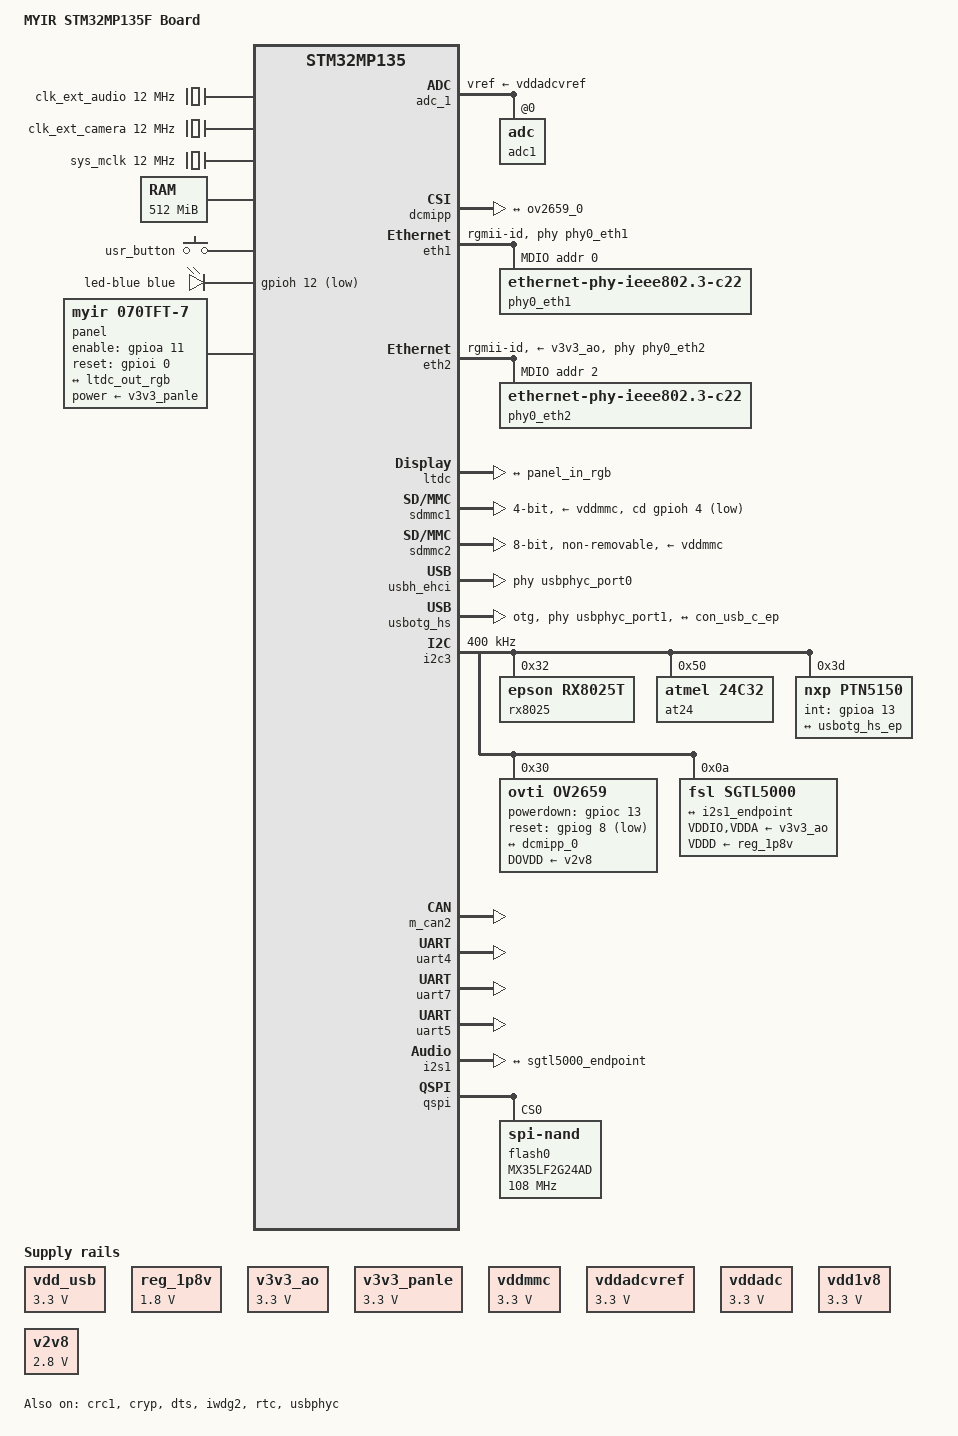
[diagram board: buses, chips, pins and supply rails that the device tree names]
// SPDX-License-Identifier: (GPL-2.0+ OR BSD-3-Clause)
/*
 * Copyright (C) STMicroelectronics 2021 - All Rights Reserved
 * Author: Alexandre Torgue <alexandre.torgue@foss.st.com> for STMicroelectronics.
 */

/dts-v1/;

#include <dt-bindings/gpio/gpio.h>
#include <dt-bindings/input/input.h>
#include <dt-bindings/leds/common.h>
#include <dt-bindings/rtc/rtc-stm32.h>
#include "stm32mp135.dtsi"
#include "stm32mp13xf.dtsi"
#include "myb-stm32mp13-pinctrl.dtsi"

/ {
	model = "MYIR STM32MP135F Board";
	compatible = "st,stm32mp135f-dk", "st,stm32mp135";

	aliases {
		ethernet0 = &eth1;
		ethernet1 = &eth2;
		serial0 = &uart4;
		serial1 = &uart7;
		serial2 = &uart5;
	};

	chosen {
		#address-cells = <1>;
		#size-cells = <1>;
		ranges;
		stdout-path = "serial0:115200n8";

		// framebuffer {
		// 	compatible = "simple-framebuffer";
		// 	clocks = <&rcc LTDC_PX>;
		// 	status = "disabled";
		// };
	};

	clocks {
		clk_ext_audio: clk-ext-audio {
			#clock-cells = <0>;
			compatible = "fixed-clock";
			clock-frequency = <12000000>;
		};

		clk_ext_camera: clk-ext-camera {
			#clock-cells = <0>;
			compatible = "fixed-clock";
			clock-frequency = <12000000>;
		};

		clk_mco1: clk-mco1 {
			#clock-cells = <0>;
			compatible = "fixed-clock";
			clock-frequency = <24000000>;
		};
	};

	sys_mclk: clock-mclk {
		compatible = "fixed-clock";
		#clock-cells = <0>;
		clock-frequency = <12000000>;
	};

	memory@c0000000 {
		device_type = "memory";
		reg = <0xc0000000 0x20000000>;
	};

	gpio-keys {
		compatible = "gpio-keys";
		#size-cells = <0>;
		button-0 {
			label = "usr_button";
			linux,code = <KEY_ENTER>;
			interrupt-parent = <&gpioi>;
			interrupts = <1 IRQ_TYPE_EDGE_RISING>;
		};
	};

	leds {
		compatible = "gpio-leds";
		led-blue {
			function = LED_FUNCTION_HEARTBEAT;
			color = <LED_COLOR_ID_BLUE>;
			gpios = <&gpioh 12 GPIO_ACTIVE_LOW>;
			linux,default-trigger = "heartbeat";
			default-state = "off";
		};
	};

	reserved-memory {
		#address-cells = <1>;
		#size-cells = <1>;
		ranges;

		optee_framebuffer@dd000000 {
			reg = <0xdd000000 0x1000000>;
			no-map;
		};

		optee@de000000 {
			reg = <0xde000000 0x2000000>;
			no-map;
		};
	};

	/*LCD Panel*/
	panel {
			compatible = "myir,070tft-7";
			pinctrl-names = "default", "sleep";
			pinctrl-0 = <&ltdc_pins_a>;
			pinctrl-1 = <&ltdc_sleep_pins_a>;

			power-supply = <&v3v3_panle>;
			enable-gpios = <&gpioa 11 GPIO_ACTIVE_HIGH>;
			reset-gpios = <&gpioi 0 GPIO_ACTIVE_HIGH>;

			//interrupts = <3 IRQ_TYPE_EDG
			//backlight = <&panel_backlight>;
			status = "okay";
			port {
					panel_in_rgb: endpoint {
							remote-endpoint = <&ltdc_out_rgb>;
					};
			};
	};

	vdd_usb: reg-vdd_usb {
		compatible = "regulator-fixed";
		regulator-name = "vdd_usb";
		regulator-min-microvolt = <3300000>;
		regulator-max-microvolt = <3300000>;
		regulator-always-on;
		regulator-boot-on;
	};

	reg_1p8v: regulator3 {
		compatible = "regulator-fixed";
		regulator-name = "fixed-1.8V";
		regulator-min-microvolt = <1800000>;
		regulator-max-microvolt = <1800000>;
		regulator-boot-on;
		regulator-always-on;
	};

	v3v3_ao: v3v3_ao {
			compatible = "regulator-fixed";
			regulator-name = "v3v3_ao";
			regulator-min-microvolt = <3300000>;
			regulator-max-microvolt = <3300000>;
			regulator-always-on;
	};

	v3v3_panle: v3v3_panle {
			compatible = "regulator-fixed";
			regulator-name = "v3v3_panle";
			regulator-min-microvolt = <3300000>;
			regulator-max-microvolt = <3300000>;
			regulator-always-on;
	};

	vddmmc: fixedregulator@0 {
			compatible = "regulator-fixed";
			regulator-name = "vddmmc";
			regulator-min-microvolt = <3300000>;
			regulator-max-microvolt = <3300000>;
	};

	vddadcvref: fixedregulator@0 {
			compatible = "regulator-fixed";
			regulator-name = "vddadcvref";
			regulator-min-microvolt = <3300000>;
			regulator-max-microvolt = <3300000>;
	};

	vddadc: fixedregulator@0 {
			compatible = "regulator-fixed";
			regulator-name = "vddadc";
			regulator-min-microvolt = <3300000>;
			regulator-max-microvolt = <3300000>;
	};

	vdd1v8: vdd1v8 {
			compatible = "regulator-fixed";
			regulator-name = "vdd1v8";
			regulator-min-microvolt = <3300000>;
			regulator-max-microvolt = <3300000>;
	};

	v2v8: v2v8 {
			compatible = "regulator-fixed";
			regulator-name = "v2v8";
			regulator-min-microvolt = <2800000>;
			regulator-max-microvolt = <2800000>;
	};

	sound: audio {
		compatible = "simple-audio-card";
		simple-audio-card,format = "i2s";
		simple-audio-card,bitclock-master = <&codec_dai>;
		simple-audio-card,frame-master = <&codec_dai>;
		simple-audio-card,mclk-fs = <256>;

	        simple-audio-card,widgets =
                        "Microphone", "Microphone Jack",
                        "Headphone", "Headphone Jack",
                        "Speaker", "Speaker Ext",
                        "Line", "Line In Jack";
		simple-audio-card,routing =
				"MIC_IN", "Microphone Jack",
				"Microphone Jack", "Mic Bias",
				"Headphone Jack", "HP_OUT";

		cpu_dai: simple-audio-card,cpu {
				sound-dai = <&i2s1>;
		};

		codec_dai: simple-audio-card,codec {
				sound-dai = <&sgtl5000>;
				bitclock-master;
				frame-master;
				system-clock-frequency = <12000000>;
		};
    };

};

&adc_1 {
	pinctrl-names = "default";
	pinctrl-0 = <&adc1_usb_cc_pins_a>;
	vdda-supply = <&vddadc>;
	vref-supply = <&vddadcvref>;
	vdd-supply = <&vddadc>;
	status = "okay";
	adc1: adc@0 {
			status = "okay";
			channel@2 {
					reg = <2>;
					st,min-sample-time-ns = <5000>;
			};
			channel@8 {
					reg = <8>;
					st,min-sample-time-ns = <5000>;
			};
	};
};

&crc1 {
	status = "okay";
};

&cryp {
	status = "okay";
};

&dcmipp {
	status = "okay";
	pinctrl-names = "default", "sleep";
	pinctrl-0 = <&dcmiapp_pins_mx>;
	pinctrl-1 = <&dcmiapp_sleep_pins_mx>;

	port {
			dcmipp_0: endpoint {
					remote-endpoint = <&ov2659_0>;
					bus-width = <8>;
					hsync-active = <0>;
					vsync-active = <1>;
					pclk-sample = <1>;
//					pclk-max-frequency = <120000000>;
			};
	};
};

&dma1 {
	sram = <&dma_pool>;
};

&dma2 {
	sram = <&dma_pool>;
};

&dts {
	status = "okay";
};

&eth1 {
	status = "okay";
	pinctrl-0 = <&eth1_rgmii_pins_a>;
	pinctrl-1 = <&eth1_rgmii_sleep_pins_a>;
	pinctrl-names = "default", "sleep";
	phy-mode = "rgmii-id";
	max-speed = <1000>;
	phy-handle = <&phy0_eth1>;
	// st,ext-phyclk;
	// st,eth-clk-sel;
	st,phy-reset-gpios = <&gpiob 10 GPIO_ACTIVE_HIGH>;

	mdio1 {
		#address-cells = <1>;
		#size-cells = <0>;
		compatible = "snps,dwmac-mdio";
		phy0_eth1: ethernet-phy@0 {
				compatible = "ethernet-phy-ieee802.3-c22";
				reg = <0>;
		};
	};
};

&eth2 {
	status = "okay";
	pinctrl-0 = <&eth2_rgmii_pins_a>;
	pinctrl-1 = <&eth2_rgmii_sleep_pins_a>;

	pinctrl-names = "default", "sleep";
	phy-mode = "rgmii-id";
	max-speed = <1000>;
	phy-handle = <&phy0_eth2>;
	// st,ext-phyclk;
	// st,eth-clk-sel;
	phy-supply = <&v3v3_ao>;
	st,phy-reset-gpios =  <&gpioh 5 GPIO_ACTIVE_HIGH>;
	// reset-deassert-us = <1000>;
	// reset-assert-us = <1000>;
	mdio1 {
		#address-cells = <1>;
		#size-cells = <0>;
		compatible = "snps,dwmac-mdio";
		phy0_eth2: ethernet-phy@2 {
				compatible = "ethernet-phy-ieee802.3-c22";
				reg = <2>;
		};
	};
};

&i2c1 {
	pinctrl-names = "default", "sleep";
	i2c-scl-rising-time-ns = <96>;
	i2c-scl-falling-time-ns = <3>;
	clock-frequency = <1000000>;
	status = "disabled";
	/* spare dmas for other usage */
	/delete-property/dmas;
	/delete-property/dma-names;
};

&i2c5 {
	pinctrl-names = "default", "sleep";
	// pinctrl-0 = <&i2c5_pins_a>;
	// pinctrl-1 = <&i2c5_sleep_pins_a>;
	i2c-scl-rising-time-ns = <170>;
	i2c-scl-falling-time-ns = <5>;
	clock-frequency = <400000>;
	status = "disabled";
	/* spare dmas for other usage */
	/delete-property/dmas;
	/delete-property/dma-names;
};

&iwdg2 {
	timeout-sec = <32>;
	status = "okay";
};

&ltdc {
	pinctrl-names = "default", "sleep";
	status = "okay";
	port {
		#address-cells = <1>;
		#size-cells = <0>;

		ltdc_out_rgb: endpoint@0 {
				reg = <0>;
				remote-endpoint = <&panel_in_rgb>;
		};
	};
};

&rtc {
	// st,lsco = <RTC_OUT2_RMP>;
	// pinctrl-0 = <&rtc_out2_rmp_pins_a>;
	// pinctrl-names = "default";
	status = "okay";
};

&sdmmc1 {
	pinctrl-names = "default", "opendrain", "sleep";
	pinctrl-0 = <&sdmmc1_b4_pins_a &sdmmc1_clk_pins_a>;
	pinctrl-1 = <&sdmmc1_b4_od_pins_a &sdmmc1_clk_pins_a>;
	pinctrl-2 = <&sdmmc1_b4_sleep_pins_a>;
	cd-gpios = <&gpioh 4 (GPIO_ACTIVE_LOW | GPIO_PULL_UP)>;
	disable-wp;
	st,neg-edge;
	bus-width = <4>;
	vmmc-supply = <&vddmmc>;
	status = "okay";
};

/* eMMC */
&sdmmc2 {
	arm,primecell-periphid = <0x10153180>;
	pinctrl-names = "default", "opendrain", "sleep";
	pinctrl-0 = <&sdmmc2_b4_pins_a &sdmmc2_clk_pins_a>;
	pinctrl-1 = <&sdmmc2_b4_od_pins_a &sdmmc2_clk_pins_a>;
	pinctrl-2 = <&sdmmc2_b4_sleep_pins_a>;
	non-removable;
	no-sd;
	no-sdio;
	st,neg-edge;
	bus-width = <8>;
	vmmc-supply = <&vddmmc>;
	vqmmc-supply = <&vdd1v8>;
	#address-cells = <1>;
	#size-cells = <0>;
	status = "okay";
};

&sram {
	dma_pool: dma-sram@0 {
		reg = <0x0 0x4000>;
		pool;
	};
};

&timers3 {
	/delete-property/dmas;
	/delete-property/dma-names;
	status = "disabled";
};

&timers4 {
	/delete-property/dmas;
	/delete-property/dma-names;
	status = "disabled";
};

&timers8 {
	/delete-property/dmas;
	/delete-property/dma-names;
	status = "disabled";
};

&timers14 {
	status = "disabled";
};

&uart8 {
	pinctrl-names = "default", "sleep", "idle";
	pinctrl-0 = <&uart8_pins_a>;
	pinctrl-1 = <&uart8_sleep_pins_a>;
	pinctrl-2 = <&uart8_idle_pins_a>;
	/delete-property/dmas;
	/delete-property/dma-names;
	status = "disabled";
};

&usart1 {
	pinctrl-names = "default", "sleep", "idle";
	uart-has-rtscts;
	status = "disabled";
};

&usart2 {
	pinctrl-names = "default", "sleep", "idle";
	uart-has-rtscts;
	status = "disabled";
};

&usbh_ehci {
	phys = <&usbphyc_port0>;
	status = "okay";
};

&usbotg_hs {
	phys = <&usbphyc_port1 0>;
	phy-names = "usb2-phy";
	usb-role-switch;
	dr_mode = "otg";
	// hnp-disable;
	// srp-disable;
	// adp-disable;
	status = "okay";
	port {
		usbotg_hs_ep: endpoint {
			remote-endpoint = <&con_usb_c_ep>;
		};
	};
};

&usbphyc {
	status = "okay";
};

&usbphyc_port0 {
	phy-supply = <&vdd_usb>;
	st,current-boost-microamp = <1000>;
	st,decrease-hs-slew-rate;
	st,tune-hs-dc-level = <2>;
	st,enable-hs-rftime-reduction;
	st,trim-hs-current = <11>;
	st,trim-hs-impedance = <2>;
	st,tune-squelch-level = <1>;
	st,enable-hs-rx-gain-eq;
	st,no-hs-ftime-ctrl;
	st,no-lsfs-sc;

	/*
	 * Hack to keep hub active if wakeup source is enabled
	 * otherwise the hub will wakeup the port0 as soon as the v3v3_sw is disabled
	 */
	// connector {
	// 	compatible = "usb-a-connector";
	// 	vbus-supply = <&scmi_v3v3_sw>;
	// };
};

&usbphyc_port1 {
	phy-supply = <&vdd_usb>;
	st,current-boost-microamp = <1000>;
	st,decrease-hs-slew-rate;
	st,tune-hs-dc-level = <2>;
	st,enable-hs-rftime-reduction;
	st,trim-hs-current = <11>;
	st,trim-hs-impedance = <2>;
	st,tune-squelch-level = <1>;
	st,enable-hs-rx-gain-eq;
	st,no-hs-ftime-ctrl;
	st,no-lsfs-sc;
};

&i2c3 {
	pinctrl-names = "default", "sleep";
	pinctrl-0 = <&i2c3_pins_a>;
	pinctrl-1 = <&i2c3_sleep_pins_a>;
	i2c-scl-rising-time-ns = <300>;
	i2c-scl-falling-time-ns = <300>;
	clock-frequency = <400000>;
	status = "okay";
	/* spare dmas for other usage */
	/delete-property/dmas;
	/delete-property/dma-names;

	rx8025: rx8025@32 {
		compatible = "epson,rx8025t";
		reg = <0x32>;
	};

	at24@50 {
			compatible = "atmel,24c32";
			pagesize = <64>;
			reg = <0x50>;
	};

	ptn5150: ptn5150@3d {
		compatible = "nxp,ptn5150";
		reg = <0x3d>;

		status = "okay";
		int-gpios = <&gpioa 13 GPIO_ACTIVE_HIGH>;
		connector {
			compatible = "usb-c-connector";
			label = "USB-C";
			port {
				con_usb_c_ep: endpoint {
					remote-endpoint = <&usbotg_hs_ep>;
				};
			};
		};
	};

	ov2659: camera@30 {
		compatible = "ovti,ov2659";
		reg = <0x30>;
		clocks = <&clk_ext_camera>;
		clock-names = "xvclk";
		DOVDD-supply = <&v2v8>;
		powerdown-gpios = <&gpioc 13 (GPIO_ACTIVE_HIGH | GPIO_PUSH_PULL)>;
		reset-gpios = <&gpiog 8 (GPIO_ACTIVE_LOW | GPIO_PUSH_PULL)>;
		// rotation = <180>;
		status = "okay";
			port {
			ov2659_0: endpoint {
				remote-endpoint = <&dcmipp_0>;
				// bus-width = <8>;
				// data-shift = <2>; /* lines 9:2 are used */
				// hsync-active = <0>;
				// vsync-active = <0>;
				// pclk-sample = <1>;
				link-frequencies = /bits/ 64 <70000000>;
				// pclk-max-frequency = <24000000>;
			};

		};
	};

	sgtl5000: audio-codec@a {
		status = "okay";
		#sound-dai-cells = <0>;
		compatible = "fsl,sgtl5000";
		reg = <0xa>;
		VDDIO-supply = <&v3v3_ao>;
		VDDA-supply = <&v3v3_ao>;
		VDDD-supply = <&reg_1p8v>;
		clocks = <&clk_ext_audio>;
		port {
			#address-cells = <0x1>;
			#size-cells = <0x0>;
            port@0 {
                reg = <0>;
                sgtl5000_endpoint: endpoint {
					remote-endpoint = <&i2s1_endpoint>;
                };
		   };
		};
	};


};

&m_can2 {
	pinctrl-names = "default", "sleep";
	pinctrl-0 = <&m_can2_pins_a>;
	pinctrl-1 = <&m_can2_sleep_pins_a>;
	status = "okay";
};

/*console*/
&uart4 {
	pinctrl-names = "default", "sleep", "idle";
	pinctrl-0 = <&uart4_pins_a>;
	pinctrl-1 = <&uart4_sleep_pins_a>;
	pinctrl-2 = <&uart4_idle_pins_a>;
	/delete-property/dmas;
	/delete-property/dma-names;
	status = "okay";
};

/*RS485*/
&uart7 {
	pinctrl-names = "default", "sleep", "idle";
	pinctrl-0 = <&uart7_pins_a>;
	pinctrl-1 = <&uart7_sleep_pins_a>;
	pinctrl-2 = <&uart7_idle_pins_a>;
	/delete-property/dmas;
	/delete-property/dma-names;
	status = "okay";
};

/*RS232*/
&uart5 {
	pinctrl-names = "default", "sleep", "idle";
	pinctrl-0 = <&uart5_pins_a>;
	pinctrl-1 = <&uart5_sleep_pins_a>;
	pinctrl-2 = <&uart5_idle_pins_a>;
	// /delete-property/dmas;
	// /delete-property/dma-names;
	status = "okay";
};

&i2s1 {
	#clock-cells = <0>;
	clocks = <&rcc SPI1>, <&rcc SPI1_K>, <&scmi_clk CK_SCMI_PLL3_Q>, <&scmi_clk CK_SCMI_PLL3_R>;
	clock-names = "pclk", "i2sclk", "x8k", "x11k";
	pinctrl-names = "default", "sleep";
	pinctrl-0 = <&i2s1_pins_a>;
	pinctrl-1 = <&i2s1_pins_sleep_a>;
	i2s-ioswp;
	status = "okay";

    i2s1_port: port {
        i2s1_endpoint: endpoint {
            remote-endpoint = <&sgtl5000_endpoint>;
        };
    };
};

&qspi {
        pinctrl-names = "default", "sleep";
        pinctrl-0 = <&quadspi_pins_mx>;
        pinctrl-1 = <&quadspi_sleep_pins_mx>;
        reg = <0x58003000 0x1000>,
              <0x70000000 0x4000000>;
        #address-cells = <1>;
        #size-cells = <0>;
        status = "okay";

        flash0: MX35LF2G24AD@0 {
                compatible = "spi-nand";
                reg = <0>;
                spi-rx-bus-width = <4>;
                spi-tx-bus-width = <4>;
                spi-max-frequency = <108000000>;
                #address-cells = <1>;
                #size-cells = <1>;
        };
};
